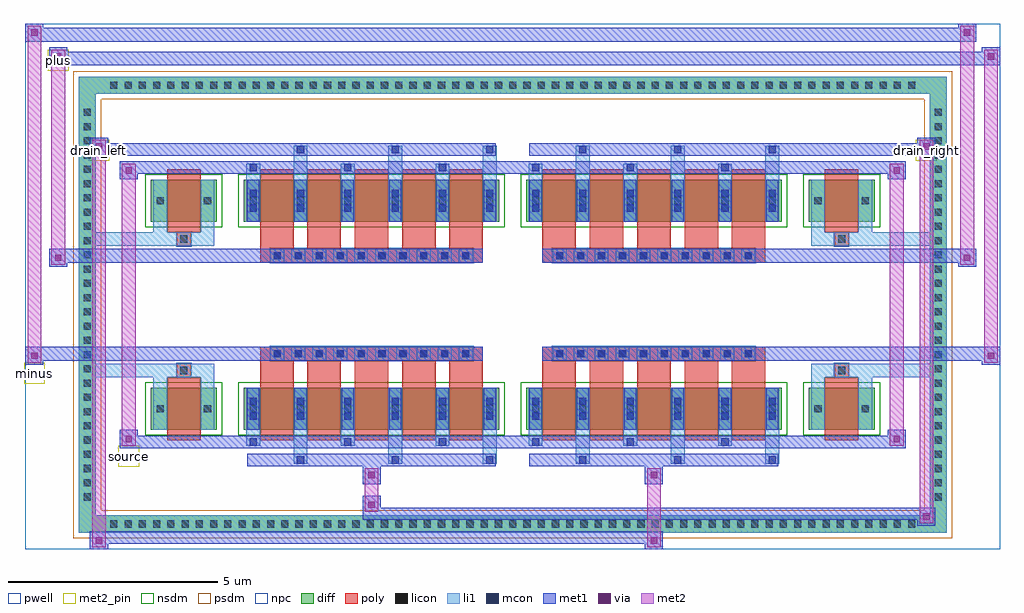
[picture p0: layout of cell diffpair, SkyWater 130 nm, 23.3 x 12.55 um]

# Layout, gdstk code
import gdstk
lib = gdstk.Library(unit=1e-6, precision=5e-09)
def R(c, l, rs):  # rectangles x0, y0, x1, y1
    for r in rs: c.add(gdstk.rectangle(r[:2], r[2:], *l))
def A(c, l, x, y, w, h, nx, ny, dx, dy):  # array of equal rectangles
    R(c, l, [(x+i*dx, y+j*dy, x+i*dx+w, y+j*dy+h) for i in range(nx) for j in range(ny)])
def P(c, l, *ps):  # polygons
    for p in ps: c.add(gdstk.Polygon(p, *l))
pwell = (64, 44)
diff = (65, 20)
poly = (66, 20)
licon = (66, 44)
li1 = (67, 20)
mcon = (67, 44)
met1 = (68, 20)
via = (68, 44)
met2_pin = (69, 16)
met2 = (69, 20)
nsdm = (93, 44)
psdm = (94, 20)
npc = (95, 20)

diffpair = lib.new_cell('diffpair')
R(diffpair, pwell, [(-11.63,-5.84,11.63,6.71), (-8.95,-4.03,-0.01,-0.805), (0.01,-4.03,8.95,-0.805), (-8.95,0.805,-0.01,4.03), (0.01,0.805,8.95,4.03)])
A(diffpair, diff, -9.725, -5.44, 0.41, 0.41, 57, 2, 0.34, 10.47)
A(diffpair, diff, -10.36, -4.795, 0.41, 0.41, 1, 28, 0, 0.34)
A(diffpair, diff, 9.95, -4.795, 0.41, 0.41, 1, 28, 0, 0.34)
R(diffpair, diff, [(-9.725,-5.44,9.725,-5.03), (-10.36,-4.795,-9.95,4.795), (9.95,-4.795,10.36,4.795), (-8.64,-2.985,-7.06,-1.985), (-6.42,-2.985,-0.32,-1.985), (0.32,-2.985,6.42,-1.985), (7.06,-2.985,8.64,-1.985), (-8.64,1.985,-7.06,2.985), (-6.42,1.985,-0.32,2.985), (0.32,1.985,6.42,2.985), (7.06,1.985,8.64,2.985), (-9.725,5.03,9.725,5.44)])
P(diffpair, diff, [(10.36,5.44),(-10.36,5.44),(-10.36,-5.03),(-9.95,-5.03),(-9.95,5.03),(9.95,5.03),(9.95,-5.03),(-9.95,-5.03),(-10.36,-5.03),(-10.36,-5.44),(10.36,-5.44)])
A(diffpair, poly, -6.03, -3.235, 0.8, 1.5, 5, 2, 1.13, 4.97)
A(diffpair, poly, 0.71, -3.235, 0.8, 1.5, 5, 2, 1.13, 4.97)
A(diffpair, poly, -6.03, -1.735, 0.8, 0.4, 5, 2, 1.13, 3.07)
A(diffpair, poly, 0.71, -1.735, 0.8, 0.4, 5, 2, 1.13, 3.07)
A(diffpair, poly, -5.785, -1.335, 0.33, 0.33, 10, 2, 0.5, 2.34)
A(diffpair, poly, 0.955, -1.335, 0.33, 0.33, 10, 2, 0.5, 2.34)
R(diffpair, poly, [(-8.25,-3.235,-7.45,-1.735), (7.45,-3.235,8.25,-1.735), (-8.015,-1.735,-7.685,-1.405), (-8.015,-1.735,-7.685,-1.405), (7.685,-1.735,8.015,-1.405), (7.685,-1.735,8.015,-1.405), (-6.03,-1.335,-0.71,-1.005), (0.71,-1.335,6.03,-1.005), (-6.03,1.005,-0.71,1.335), (0.71,1.005,6.03,1.335), (-8.015,1.405,-7.685,1.735), (-8.015,1.405,-7.685,1.735), (7.685,1.405,8.015,1.735), (7.685,1.405,8.015,1.735), (-8.25,1.735,-7.45,3.235), (7.45,1.735,8.25,3.235)])
A(diffpair, licon, -9.605, -5.32, 0.17, 0.17, 57, 2, 0.34, 10.47)
A(diffpair, licon, -10.24, -4.675, 0.17, 0.17, 1, 28, 0, 0.34)
A(diffpair, licon, 10.07, -4.675, 0.17, 0.17, 1, 28, 0, 0.34)
A(diffpair, licon, -6.28, -2.57, 0.17, 0.17, 6, 2, 1.13, 4.97)
A(diffpair, licon, 0.46, -2.57, 0.17, 0.17, 6, 2, 1.13, 4.97)
A(diffpair, licon, -5.705, -1.255, 0.17, 0.17, 10, 2, 0.5, 2.34)
A(diffpair, licon, 1.035, -1.255, 0.17, 0.17, 10, 2, 0.5, 2.34)
R(diffpair, licon, [(-8.5,-2.57,-8.33,-2.4), (-7.37,-2.57,-7.2,-2.4), (7.2,-2.57,7.37,-2.4), (8.33,-2.57,8.5,-2.4), (-7.935,-1.655,-7.765,-1.485), (7.765,-1.655,7.935,-1.485), (-7.935,1.485,-7.765,1.655), (7.765,1.485,7.935,1.655), (-8.5,2.4,-8.33,2.57), (-7.37,2.4,-7.2,2.57), (7.2,2.4,7.37,2.57), (8.33,2.4,8.5,2.57)])
A(diffpair, li1, -9.685, -5.4, 0.33, 0.33, 57, 2, 0.34, 10.47)
A(diffpair, li1, -10.32, -4.755, 0.33, 0.33, 1, 28, 0, 0.34)
A(diffpair, li1, 9.99, -4.755, 0.33, 0.33, 1, 28, 0, 0.34)
A(diffpair, li1, -5.23, -3.79, 0.33, 0.805, 3, 2, 2.26, 6.775)
A(diffpair, li1, -5.15, -3.79, 0.17, 0.17, 3, 2, 2.26, 7.41)
A(diffpair, li1, 1.51, -3.79, 0.33, 0.805, 3, 2, 2.26, 6.775)
A(diffpair, li1, 1.59, -3.79, 0.17, 0.17, 3, 2, 2.26, 7.41)
A(diffpair, li1, -6.36, -3.36, 0.33, 0.375, 3, 2, 2.26, 6.345)
A(diffpair, li1, -6.28, -3.36, 0.17, 0.17, 3, 2, 2.26, 6.55)
A(diffpair, li1, 0.38, -3.36, 0.33, 0.375, 3, 2, 2.26, 6.345)
A(diffpair, li1, 0.46, -3.36, 0.17, 0.17, 3, 2, 2.26, 6.55)
A(diffpair, li1, -6.36, -2.985, 0.33, 1, 6, 2, 1.13, 4.97)
A(diffpair, li1, 0.38, -2.985, 0.33, 1, 6, 2, 1.13, 4.97)
A(diffpair, li1, -6.28, -2.75, 0.17, 0.17, 6, 2, 1.13, 0.36)
A(diffpair, li1, -6.28, -2.75, 0.17, 0.53, 6, 2, 1.13, 4.97)
A(diffpair, li1, 0.46, -2.75, 0.17, 0.17, 6, 2, 1.13, 0.36)
A(diffpair, li1, 0.46, -2.75, 0.17, 0.53, 6, 2, 1.13, 4.97)
A(diffpair, li1, -6.36, -2.65, 0.33, 0.33, 6, 2, 1.13, 4.97)
A(diffpair, li1, 0.38, -2.65, 0.33, 0.33, 6, 2, 1.13, 4.97)
A(diffpair, li1, -5.785, -1.335, 0.33, 0.33, 10, 2, 0.5, 2.34)
A(diffpair, li1, 0.955, -1.335, 0.33, 0.33, 10, 2, 0.5, 2.34)
A(diffpair, li1, -6.28, 2.22, 0.17, 0.17, 6, 2, 1.13, 0.36)
A(diffpair, li1, 0.46, 2.22, 0.17, 0.17, 6, 2, 1.13, 0.36)
R(diffpair, li1, [(-10.36,-5.44,-9.95,-5.03), (-10.36,-5.44,-9.95,-5.03), (-9.95,-5.44,9.95,-5.03), (9.95,-5.44,10.36,-5.03), (9.95,-5.44,10.36,-5.03), (-10.36,-5.03,-9.95,5.03), (9.95,-5.03,10.36,5.03), (-8.58,-2.985,-8.25,-1.985), (-7.45,-2.985,-7.12,-1.985), (7.12,-2.985,7.45,-1.985), (8.25,-2.985,8.58,-1.985), (-8.58,-2.65,-8.25,-2.32), (-7.45,-2.65,-7.12,-2.32), (7.12,-2.65,7.45,-2.32), (8.25,-2.65,8.58,-2.32), (-8.58,-1.985,-8.25,-1.405), (-7.45,-1.985,-7.12,-1.405), (7.12,-1.985,7.45,-1.405), (8.25,-1.985,8.58,-1.405), (-10.36,-1.735,-8.015,-1.405), (-8.58,-1.735,-8.015,-1.405), (-8.015,-1.735,-7.685,-1.405), (-7.685,-1.735,-7.12,-1.405), (7.12,-1.735,7.685,-1.405), (7.685,-1.735,8.015,-1.405), (7.685,-1.735,10.36,-1.405), (8.015,-1.735,8.58,-1.405), (-10.36,1.405,-8.015,1.735), (-8.58,1.405,-8.015,1.735), (-8.58,1.405,-8.25,1.985), (-8.015,1.405,-7.685,1.735), (-7.685,1.405,-7.12,1.735), (-7.45,1.405,-7.12,1.985), (7.12,1.405,7.685,1.735), (7.12,1.405,7.45,1.985), (7.685,1.405,8.015,1.735), (7.685,1.405,10.36,1.735), (8.015,1.405,8.58,1.735), (8.25,1.405,8.58,1.985), (-8.58,1.985,-8.25,2.985), (-7.45,1.985,-7.12,2.985), (7.12,1.985,7.45,2.985), (8.25,1.985,8.58,2.985), (-8.58,2.32,-8.25,2.65), (-7.45,2.32,-7.12,2.65), (7.12,2.32,7.45,2.65), (8.25,2.32,8.58,2.65), (-10.36,5.03,-9.95,5.44), (-10.36,5.03,-9.95,5.44), (-9.95,5.03,9.95,5.44), (9.95,5.03,10.36,5.44), (9.95,5.03,10.36,5.44)])
A(diffpair, mcon, -5.15, -3.79, 0.17, 0.17, 3, 2, 2.26, 7.41)
A(diffpair, mcon, 1.59, -3.79, 0.17, 0.17, 3, 2, 2.26, 7.41)
A(diffpair, mcon, -6.28, -3.36, 0.17, 0.17, 3, 2, 2.26, 6.55)
A(diffpair, mcon, 0.46, -3.36, 0.17, 0.17, 3, 2, 2.26, 6.55)
A(diffpair, mcon, -6.28, -2.75, 0.17, 0.17, 6, 2, 1.13, 0.36)
A(diffpair, mcon, 0.46, -2.75, 0.17, 0.17, 6, 2, 1.13, 0.36)
A(diffpair, mcon, -5.705, -1.255, 0.17, 0.17, 10, 2, 0.5, 2.34)
A(diffpair, mcon, 1.035, -1.255, 0.17, 0.17, 10, 2, 0.5, 2.34)
A(diffpair, mcon, -6.28, 2.22, 0.17, 0.17, 6, 2, 1.13, 0.36)
A(diffpair, mcon, 0.46, 2.22, 0.17, 0.17, 6, 2, 1.13, 0.36)
A(diffpair, met1, -5.21, -3.85, 0.29, 0.29, 3, 2, 2.26, 7.41)
A(diffpair, met1, 1.53, -3.85, 0.29, 0.29, 3, 2, 2.26, 7.41)
A(diffpair, met1, -6.34, -3.42, 0.29, 0.29, 3, 2, 2.26, 6.55)
A(diffpair, met1, 0.4, -3.42, 0.29, 0.29, 3, 2, 2.26, 6.55)
A(diffpair, met1, -6.34, -2.985, 0.29, 1, 6, 2, 1.13, 4.97)
A(diffpair, met1, 0.4, -2.985, 0.29, 1, 6, 2, 1.13, 4.97)
A(diffpair, met1, -6.34, -2.81, 0.29, 0.29, 6, 2, 1.13, 0.36)
A(diffpair, met1, 0.4, -2.81, 0.29, 0.29, 6, 2, 1.13, 0.36)
A(diffpair, met1, -5.765, -1.315, 0.29, 0.29, 10, 2, 0.5, 2.34)
A(diffpair, met1, 0.975, -1.315, 0.29, 0.29, 10, 2, 0.5, 2.34)
A(diffpair, met1, -6.34, 2.16, 0.29, 0.29, 6, 2, 1.13, 0.36)
A(diffpair, met1, 0.4, 2.16, 0.29, 0.29, 6, 2, 1.13, 0.36)
R(diffpair, met1, [(-10.09,-5.84,-9.66,-5.41), (3.155,-5.84,3.585,-5.41), (-10.09,-5.7,3.585,-5.41), (9.66,-5.27,10.09,-4.84), (-3.585,-5.13,10.09,-4.84), (-3.585,-4.99,-3.155,-4.56), (-3.585,-4.28,-3.155,-3.85), (3.155,-4.28,3.585,-3.85), (-6.34,-3.85,-0.4,-3.56), (0.4,-3.85,6.34,-3.56), (-9.38,-3.42,-8.95,-2.99), (-9.38,-3.42,-6.34,-3.13), (-6.34,-3.42,-0.4,-3.13), (-0.4,-3.42,0.4,-3.13), (0.4,-3.42,6.34,-3.13), (6.34,-3.42,9.38,-3.13), (8.95,-3.42,9.38,-2.99), (-11.63,-1.435,-11.2,-1.005), (11.2,-1.435,11.63,-1.005), (-11.63,-1.335,-0.71,-1.005), (-6.03,-1.335,-0.71,-1.005), (0.71,-1.335,6.03,-1.005), (0.71,-1.335,11.63,-1.005), (-11.06,0.905,-10.63,1.335), (10.63,0.905,11.06,1.335), (-11.06,1.005,-6.03,1.335), (-6.03,1.005,-0.71,1.335), (0.71,1.005,6.03,1.335), (6.03,1.005,11.06,1.335), (-9.38,2.99,-8.95,3.42), (8.95,2.99,9.38,3.42), (-9.38,3.13,-6.34,3.42), (-6.34,3.13,-0.4,3.42), (-0.4,3.13,0.4,3.42), (0.4,3.13,6.34,3.42), (6.34,3.13,9.38,3.42), (-10.09,3.56,-9.66,3.99), (-10.09,3.56,-6.34,3.85), (-6.34,3.56,-0.4,3.85), (0.4,3.56,6.34,3.85), (6.34,3.56,10.09,3.85), (9.66,3.56,10.09,3.99), (-11.06,5.71,-10.63,6.14), (-11.06,5.71,-8.95,6.04), (-8.95,5.71,8.95,6.04), (8.95,5.71,11.63,6.04), (11.2,5.71,11.63,6.14), (-11.63,6.28,-11.2,6.71), (-11.63,6.28,-8.95,6.61), (-8.95,6.28,8.95,6.61), (8.95,6.28,11.06,6.61), (10.63,6.28,11.06,6.71)])
R(diffpair, via, [(-9.95,-5.7,-9.8,-5.55), (3.295,-5.7,3.445,-5.55), (9.8,-5.13,9.95,-4.98), (-3.445,-4.85,-3.295,-4.7), (-3.445,-4.14,-3.295,-3.99), (3.295,-4.14,3.445,-3.99), (-9.24,-3.28,-9.09,-3.13), (9.09,-3.28,9.24,-3.13), (-11.49,-1.295,-11.34,-1.145), (11.34,-1.295,11.49,-1.145), (-10.92,1.045,-10.77,1.195), (10.77,1.045,10.92,1.195), (-9.24,3.13,-9.09,3.28), (9.09,3.13,9.24,3.28), (-9.95,3.7,-9.8,3.85), (9.8,3.7,9.95,3.85), (-10.92,5.85,-10.77,6), (11.34,5.85,11.49,6), (-11.49,6.42,-11.34,6.57), (10.77,6.42,10.92,6.57)])
R(diffpair, met2_pin, [(-9.415,-3.87,-8.915,-3.37), (-11.665,-1.885,-11.165,-1.385), (-10.125,3.44,-9.625,3.94), (9.625,3.44,10.125,3.94), (-11.095,5.59,-10.595,6.09)])
R(diffpair, met2, [(-10.04,-5.79,-9.71,-5.46), (-10.04,-5.79,-9.71,3.94), (3.205,-5.79,3.535,-5.46), (3.205,-5.46,3.535,-4.23), (9.71,-5.22,10.04,-4.89), (9.71,-5.22,10.04,3.94), (-3.535,-4.94,-3.205,-4.61), (-3.535,-4.61,-3.205,-4.23), (-3.535,-4.23,-3.205,-3.9), (3.205,-4.23,3.535,-3.9), (-9.33,-3.37,-9,-3.04), (-9.33,-3.37,-9,3.37), (9,-3.37,9.33,-3.04), (9,-3.37,9.33,3.37), (-11.58,-1.385,-11.25,-1.055), (-11.58,-1.385,-11.25,6.66), (11.25,-1.385,11.58,-1.055), (11.25,-1.385,11.58,6.09), (-11.01,0.955,-10.68,1.285), (-11.01,0.955,-10.68,6.09), (10.68,0.955,11.01,1.285), (10.68,0.955,11.01,6.66), (-9.33,3.04,-9,3.37), (9,3.04,9.33,3.37), (-10.04,3.61,-9.71,3.94), (9.71,3.61,10.04,3.94), (-11.01,5.76,-10.68,6.09), (11.25,5.76,11.58,6.09), (-11.58,6.33,-11.25,6.66), (10.68,6.33,11.01,6.66)])
P(diffpair, met2, [(11.58,-1.385),(11.58,-1.385),(11.58,-1.055),(11.58,-1.055)],
  [(11.58,5.76),(11.58,5.76),(11.58,6.09),(11.58,6.09)],
  [(-11.25,-1.385),(-11.25,-1.385),(-11.25,-1.055),(-11.25,-1.055)],
  [(-11.25,6.33),(-11.25,6.33),(-11.25,6.66),(-11.25,6.66)],
  [(11.01,0.955),(11.01,0.955),(11.01,1.285),(11.01,1.285)],
  [(11.01,6.33),(11.01,6.33),(11.01,6.66),(11.01,6.66)],
  [(-10.68,0.955),(-10.68,0.955),(-10.68,1.285),(-10.68,1.285)],
  [(-10.68,5.76),(-10.68,5.76),(-10.68,6.09),(-10.68,6.09)],
  [(-9.71,-5.79),(-9.71,-5.79),(-9.71,-5.46),(-9.71,-5.46)],
  [(-9.71,3.61),(-9.71,3.61),(-9.71,3.94),(-9.71,3.94)],
  [(10.04,-5.22),(10.04,-5.22),(10.04,-4.89),(10.04,-4.89)],
  [(10.04,3.61),(10.04,3.61),(10.04,3.94),(10.04,3.94)],
  [(-9,-3.37),(-9,-3.37),(-9,-3.04),(-9,-3.04)],
  [(-9,3.04),(-9,3.04),(-9,3.37),(-9,3.37)],
  [(9.33,-3.37),(9.33,-3.37),(9.33,-3.04),(9.33,-3.04)],
  [(9.33,3.04),(9.33,3.04),(9.33,3.37),(9.33,3.37)])
R(diffpair, nsdm, [(-8.77,-3.115,-6.93,-1.855), (-6.55,-3.115,-0.19,-1.855), (0.19,-3.115,6.55,-1.855), (6.93,-3.115,8.77,-1.855), (-8.77,1.855,-6.93,3.115), (-6.55,1.855,-0.19,3.115), (0.19,1.855,6.55,3.115), (6.93,1.855,8.77,3.115)])
P(diffpair, psdm, [(10.49,5.57),(-10.49,5.57),(-10.49,-4.9),(-9.82,-4.9),(-9.82,4.9),(9.82,4.9),(9.82,-4.9),(-9.82,-4.9),(-10.49,-4.9),(-10.49,-5.57),(10.49,-5.57)])
A(diffpair, npc, -5.805, -1.355, 0.37, 0.37, 10, 2, 0.5, 2.34)
A(diffpair, npc, 0.935, -1.355, 0.37, 0.37, 10, 2, 0.5, 2.34)
R(diffpair, npc, [(-8.035,-1.755,-7.665,-1.385), (7.665,-1.755,8.035,-1.385), (-5.805,-1.355,-4.935,-0.985), (-5.805,-1.355,-4.935,-0.985), (-5.305,-1.355,-4.435,-0.985), (-5.305,-1.355,-4.435,-0.985), (-4.805,-1.355,-3.935,-0.985), (-4.805,-1.355,-3.935,-0.985), (-4.305,-1.355,-3.435,-0.985), (-4.305,-1.355,-3.435,-0.985), (-3.805,-1.355,-2.935,-0.985), (-3.805,-1.355,-2.935,-0.985), (-3.305,-1.355,-2.435,-0.985), (-3.305,-1.355,-2.435,-0.985), (-2.805,-1.355,-1.935,-0.985), (-2.805,-1.355,-1.935,-0.985), (-2.305,-1.355,-1.435,-0.985), (-2.305,-1.355,-1.435,-0.985), (-1.805,-1.355,-0.935,-0.985), (-1.805,-1.355,-0.935,-0.985), (0.935,-1.355,1.805,-0.985), (0.935,-1.355,1.805,-0.985), (1.435,-1.355,2.305,-0.985), (1.435,-1.355,2.305,-0.985), (1.935,-1.355,2.805,-0.985), (1.935,-1.355,2.805,-0.985), (2.435,-1.355,3.305,-0.985), (2.435,-1.355,3.305,-0.985), (2.935,-1.355,3.805,-0.985), (2.935,-1.355,3.805,-0.985), (3.435,-1.355,4.305,-0.985), (3.435,-1.355,4.305,-0.985), (3.935,-1.355,4.805,-0.985), (3.935,-1.355,4.805,-0.985), (4.435,-1.355,5.305,-0.985), (4.435,-1.355,5.305,-0.985), (4.935,-1.355,5.805,-0.985), (4.935,-1.355,5.805,-0.985), (-5.805,0.985,-4.935,1.355), (-5.805,0.985,-4.935,1.355), (-5.305,0.985,-4.435,1.355), (-5.305,0.985,-4.435,1.355), (-4.805,0.985,-3.935,1.355), (-4.805,0.985,-3.935,1.355), (-4.305,0.985,-3.435,1.355), (-4.305,0.985,-3.435,1.355), (-3.805,0.985,-2.935,1.355), (-3.805,0.985,-2.935,1.355), (-3.305,0.985,-2.435,1.355), (-3.305,0.985,-2.435,1.355), (-2.805,0.985,-1.935,1.355), (-2.805,0.985,-1.935,1.355), (-2.305,0.985,-1.435,1.355), (-2.305,0.985,-1.435,1.355), (-1.805,0.985,-0.935,1.355), (-1.805,0.985,-0.935,1.355), (0.935,0.985,1.805,1.355), (0.935,0.985,1.805,1.355), (1.435,0.985,2.305,1.355), (1.435,0.985,2.305,1.355), (1.935,0.985,2.805,1.355), (1.935,0.985,2.805,1.355), (2.435,0.985,3.305,1.355), (2.435,0.985,3.305,1.355), (2.935,0.985,3.805,1.355), (2.935,0.985,3.805,1.355), (3.435,0.985,4.305,1.355), (3.435,0.985,4.305,1.355), (3.935,0.985,4.805,1.355), (3.935,0.985,4.805,1.355), (4.435,0.985,5.305,1.355), (4.435,0.985,5.305,1.355), (4.935,0.985,5.805,1.355), (4.935,0.985,5.805,1.355), (-8.035,1.385,-7.665,1.755), (7.665,1.385,8.035,1.755)])
diffpair.add(gdstk.Label('minus', (-11.415,-1.635), layer=69, texttype=5))
diffpair.add(gdstk.Label('drain_right', (9.875,3.69), layer=69, texttype=5))
diffpair.add(gdstk.Label('drain_left', (-9.875,3.69), layer=69, texttype=5))
diffpair.add(gdstk.Label('source', (-9.165,-3.62), layer=69, texttype=5))
diffpair.add(gdstk.Label('plus', (-10.845,5.84), layer=69, texttype=5))

lib.write_gds('diffpair.gds')
